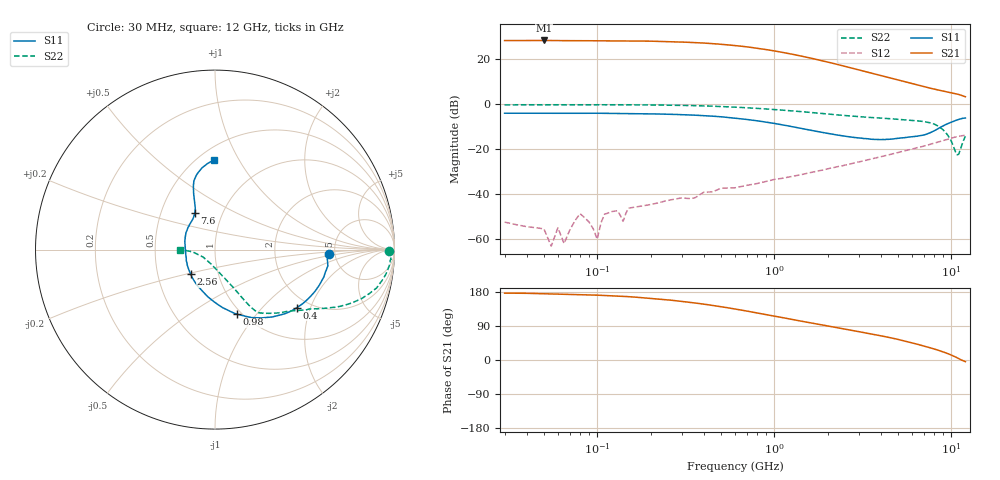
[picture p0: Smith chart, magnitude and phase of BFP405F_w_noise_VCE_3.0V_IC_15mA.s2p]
! Infineon Technologies  Discrete & RF Semiconductors
! BFP405F
! VCE =  3.0 V,  IC =  15 mA
! Common Emitter S-Parameters:  Nov 2015
# GHz  S  MA  R  50
!  f  S11  S21  S12  S22
! GHz  MAG  ANG  MAG  ANG  MAG  ANG  MAG  ANG
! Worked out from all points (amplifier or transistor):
!   239 points, 30 MHz to 12 GHz, reference 50 ohm
!   highest |S21| = 28.4 dB at 50 MHz (marker M1)
!   |S21| within 3 dB of that: start of sweep to 725.3 MHz
!   unconditionally stable (mu >= 1): 54.64 MHz to 57.66 MHz; 62.52 MHz to 65.36 MHz; 1.999 GHz to end of sweep
!   at 300 MHz: K = 0.25, MSG = 34.7 dB, |S12| = -41.6 dB
!   at 1.88 GHz: K = 0.99, MSG = 24.3 dB, |S12| = -29.2 dB
!   at 12 GHz: K = 1.37, MAG = 4.9 dB, |S12| = -13.7 dB
!   lowest NFmin = 1.97 dB at 450 MHz
!   S11 on the Smith chart (normalised r, x): 30 MHz: 4.44, -0.35; 400 MHz: 1.72, -1.62; 980 MHz: 0.95, -0.80; 2.56 GHz: 0.74, -0.21; 7.6 GHz: 0.74, +0.32; 12 GHz: 0.60, +0.79
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0.03  0.6344 -2.1  26.16 176.5  0.0024 137.8  0.972 -0.4
0.05  0.6284 -4.2  26.34 174.8  0.0017 118.3  0.9803 -1.1
0.055  0.6284 -4.6  26.21 174.5  0.0007 46.4  0.9771 -1.3
0.065  0.6298 -5.7  26.08 173.6  0.0008 38.7  0.9773 -1.7
0.085  0.634 -7.7  25.97 172.0  0.003 82.6  0.9808 -2.9
0.1  0.6335 -8.9  25.85 171.1  0.001 79.4  0.9794 -3.3
0.11  0.6309 -10.3  25.82 170.2  0.0036 99.0  0.9775 -3.6
0.145  0.6258 -13.6  25.73 167.6  0.0037 87.1  0.9754 -5.0
0.24  0.6055 -22.0  24.91 159.5  0.007 78.6  0.96 -8.5
0.3  0.5895 -27.1  24.32 154.6  0.0083 79.3  0.947 -10.4
0.4  0.56 -35.2  23.06 147.3  0.0111 77.0  0.925 -13.4
0.6  0.4923 -49.7  20.29 134.4  0.0139 74.0  0.8662 -18.1
0.8  0.4304 -61.7  17.66 124.1  0.0173 73.1  0.813 -21.6
0.98  0.3809 -71.0  15.63 116.5  0.021 72.3  0.7702 -24.1
1.3  0.3108 -86.0  12.72 105.7  0.0255 69.7  0.7072 -27.4
1.64  0.2611 -100.1  10.47 97.2  0.0309 69.5  0.6551 -30.2
2.1  0.2191 -118.3  8.342 87.9  0.0384 69.0  0.5998 -34.1
2.56  0.1931 -134.5  6.857 80.7  0.0452 67.9  0.5594 -37.5
4.5  0.1679 173.5  3.853 59.0  0.0764 62.4  0.4797 -47.7
7.6  0.2337 118.7  2.285 32.2  0.1288 50.0  0.3879 -57.6
10.8  0.4502 100.6  1.688 5.6  0.1915 31.4  0.0753 -124.9
12  0.4967 90.4  1.475 -4.4  0.2061 24.3  0.1953 -179.3
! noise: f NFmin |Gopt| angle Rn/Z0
0.45  1.97  0.11  2  0.35
0.9  1.99  0.1  4  0.33
1.5  2.03  0.08  8  0.23
1.9  2.09  0.06  10  0.28
2.4  2.24  0.04  13  0.42
3  2.32  0.03  6  0.36
3.5  2.38  0.01  -46  0.48
4.5  2.58  0.08  -93  0.25
5.5  2.83  0.16  -88  0.1
